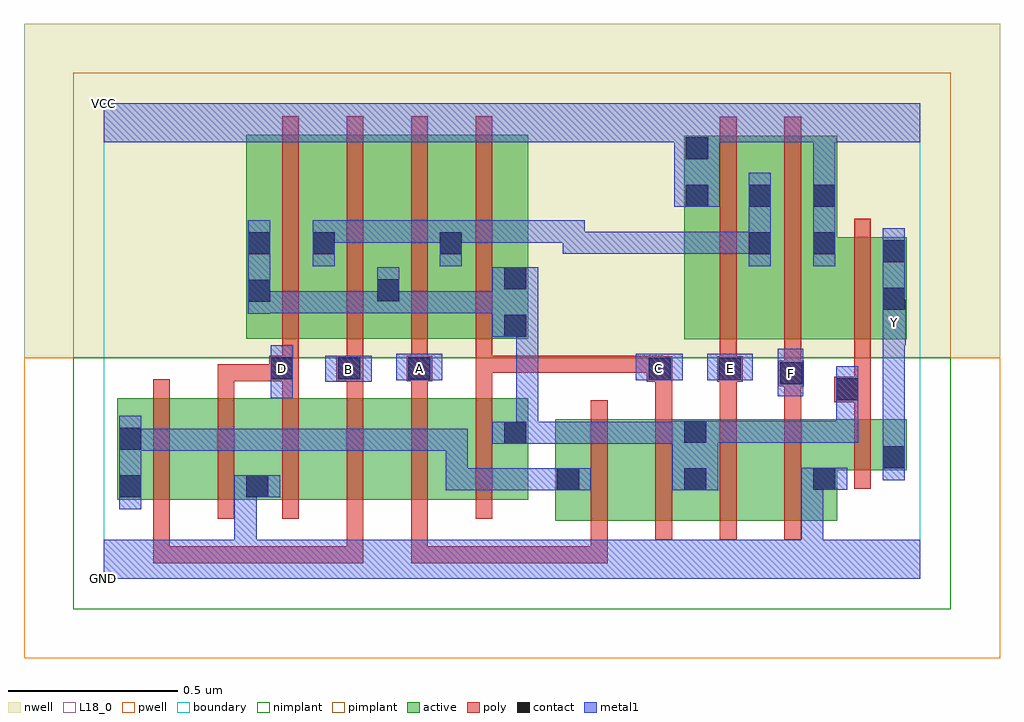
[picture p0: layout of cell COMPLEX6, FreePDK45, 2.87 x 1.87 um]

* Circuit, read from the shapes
.subckt COMPLEX6 A B C D E F GND VCC Y
M1 n1 B n2 VSUBS nfet w=0.3u l=0.05u
M2 GND D n1 VSUBS nfet w=0.3u l=0.05u
M3 n3 D GND VSUBS nfet w=0.3u l=0.05u
M4 n4 B n3 VSUBS nfet w=0.3u l=0.05u
M5 n5 A n4 VSUBS nfet w=0.3u l=0.05u
M6 n6 C n5 VSUBS nfet w=0.3u l=0.05u
M7 n7 A n2 VSUBS nfet w=0.3u l=0.05u
M8 n6 C n7 VSUBS nfet w=0.3u l=0.05u
M9 n8 E n6 VSUBS nfet w=0.3u l=0.05u
M10 GND F n8 VSUBS nfet w=0.3u l=0.05u
M11 Y n6 GND VSUBS nfet w=0.15u l=0.05u
M12 n9 D n6 n10 pfet w=0.6u l=0.05u
M13 n6 B n9 n10 pfet w=0.6u l=0.05u
M14 n9 A n6 n10 pfet w=0.6u l=0.05u
M15 n6 C n9 n10 pfet w=0.6u l=0.05u
M16 n9 E VCC n10 pfet w=0.6u l=0.05u
M17 VCC F n9 n10 pfet w=0.6u l=0.05u
M18 Y n6 VCC n10 pfet w=0.3u l=0.05u
.ends

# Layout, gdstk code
import gdstk
lib = gdstk.Library(unit=1e-6, precision=1e-09)
def R(c, l, rs):  # rectangles x0, y0, x1, y1
    for r in rs: c.add(gdstk.rectangle(r[:2], r[2:], *l))
def A(c, l, x, y, w, h, nx, ny, dx, dy):  # array of equal rectangles
    R(c, l, [(x+i*dx, y+j*dy, x+i*dx+w, y+j*dy+h) for i in range(nx) for j in range(ny)])
active = (1, 0)
pwell = (2, 0)
nwell = (3, 0)
nimplant = (4, 0)
pimplant = (5, 0)
poly = (9, 0)
contact = (10, 0)
metal1 = (11, 0)
L18_0 = (18, 0)
boundary = (235, 0)

complex6 = lib.new_cell('COMPLEX6')
R(complex6, active, [(1.33,0.17,1.555,0.47), (1.555,0.17,1.78,0.47), (1.705,0.17,1.935,0.47), (1.935,0.17,2.16,0.47), (1.33,0.2,1.405,0.47), (0.04,0.232,0.265,0.532), (0.265,0.232,0.49,0.532), (0.415,0.232,0.645,0.532), (0.415,0.232,0.49,0.517), (0.645,0.232,0.835,0.532), (0.835,0.232,1.025,0.532), (1.025,0.232,1.25,0.532), (1.705,0.232,1.78,0.47), (0.04,0.235,0.115,0.532), (2.085,0.257,2.16,0.397), (1.175,0.295,1.25,0.532), (2.085,0.32,2.365,0.47), (2.29,0.32,2.365,0.47), (1.71,0.705,1.97,1.305), (1.71,0.705,1.785,1.305), (1.895,0.705,2.16,1.305), (2.085,0.705,2.365,1.005), (2.085,0.705,2.16,1.165), (2.29,0.705,2.365,1.005), (0.42,0.707,0.685,1.307), (0.42,0.707,0.495,1.2), (0.61,0.707,0.875,1.307), (0.61,0.707,0.685,1.2), (0.8,0.707,1.06,1.307), (0.8,0.707,0.875,1.07), (0.985,0.707,1.25,1.307), (0.985,0.707,1.06,1.2), (1.175,0.707,1.25,1.07), (1.895,0.707,1.97,1.2)])
R(complex6, pwell, [(-0.235,-0.235,2.64,0.65)])
R(complex6, nwell, [(-0.235,0.65,2.64,1.635)])
R(complex6, nimplant, [(-0.09,-0.09,2.495,0.65)])
R(complex6, pimplant, [(-0.09,0.65,2.495,1.49)])
A(complex6, poly, 1.435, 0.115, 0.05, 0.41, 4, 1, 0.19, 0)
A(complex6, poly, 0.145, 0.177, 0.05, 0.41, 6, 1, 0.19, 0)
A(complex6, poly, 0.335, 0.537, 0.05, 0.095, 4, 1, 0.19, 0)
A(complex6, poly, 0.525, 0.607, 0.05, 0.095, 4, 1, 0.19, 0)
A(complex6, poly, 0.525, 0.652, 0.05, 0.71, 4, 1, 0.19, 0)
R(complex6, poly, [(0.145,0.045,0.195,0.095), (0.145,0.045,0.195,0.095), (0.145,0.045,0.195,0.095), (0.145,0.045,0.195,0.227), (0.145,0.045,0.327,0.095), (0.277,0.045,0.327,0.095), (0.277,0.045,0.602,0.095), (0.552,0.045,0.602,0.095), (0.552,0.045,0.602,0.095), (0.552,0.045,0.602,0.095), (0.552,0.045,0.765,0.095), (0.715,0.045,0.765,0.095), (0.715,0.045,0.765,0.095), (0.715,0.045,0.765,0.095), (0.715,0.045,0.765,0.227), (0.905,0.045,0.955,0.095), (0.905,0.045,0.955,0.095), (0.905,0.045,0.955,0.095), (0.905,0.045,1.352,0.095), (0.905,0.045,0.955,0.227), (1.302,0.045,1.352,0.095), (1.302,0.045,1.352,0.095), (1.302,0.045,1.352,0.095), (1.302,0.045,1.485,0.095), (1.435,0.045,1.485,0.095), (1.435,0.045,1.485,0.095), (1.435,0.045,1.485,0.095), (1.435,0.045,1.485,0.165), (2.21,0.265,2.26,0.525), (1.625,0.475,1.675,0.63), (1.815,0.475,1.865,0.63), (2.005,0.475,2.055,0.617), (2.21,0.475,2.26,0.57), (2.152,0.52,2.26,0.595), (1.095,0.537,1.145,0.657), (2.21,0.545,2.26,0.7), (1.987,0.567,2.062,0.642), (1.6,0.58,1.675,0.655), (1.807,0.58,1.882,0.655), (0.335,0.582,0.385,0.632), (0.335,0.582,0.385,0.632), (0.335,0.582,0.385,0.632), (0.335,0.582,0.537,0.632), (0.487,0.582,0.575,0.657), (0.685,0.582,0.765,0.657), (0.892,0.582,0.967,0.657), (2.005,0.592,2.055,0.7), (1.6,0.605,1.65,0.655), (1.6,0.605,1.65,0.657), (1.815,0.605,1.865,0.7), (1.095,0.607,1.145,0.657), (1.095,0.607,1.145,0.657), (1.095,0.607,1.145,0.657), (1.095,0.607,1.485,0.657), (1.435,0.607,1.485,0.657), (1.435,0.607,1.485,0.657), (1.435,0.607,1.485,0.657), (1.435,0.607,1.65,0.657), (1.815,0.65,1.865,1.36), (2.005,0.65,2.055,1.36), (2.21,0.65,2.26,1.06)])
R(complex6, contact, [(0.045,0.24,0.11,0.305), (0.42,0.24,0.485,0.305), (1.335,0.26,1.4,0.325), (1.71,0.26,1.775,0.325), (2.09,0.262,2.155,0.327), (2.295,0.325,2.36,0.39), (0.045,0.38,0.11,0.445), (1.18,0.397,1.245,0.462), (1.71,0.4,1.775,0.465), (2.157,0.525,2.222,0.59), (1.992,0.572,2.057,0.637), (1.605,0.585,1.67,0.65), (1.812,0.585,1.877,0.65), (0.492,0.587,0.557,0.652), (0.69,0.587,0.755,0.652), (0.897,0.587,0.962,0.652), (1.18,0.712,1.245,0.777), (2.295,0.792,2.36,0.857), (0.425,0.815,0.49,0.88), (0.805,0.817,0.87,0.882), (1.18,0.852,1.245,0.917), (2.295,0.932,2.36,0.997), (0.425,0.955,0.49,1.02), (0.615,0.955,0.68,1.02), (0.99,0.955,1.055,1.02), (1.9,0.955,1.965,1.02), (2.09,0.955,2.155,1.02), (1.715,1.095,1.78,1.16), (1.9,1.095,1.965,1.16), (2.09,1.095,2.155,1.16), (1.715,1.235,1.78,1.3)])
R(complex6, metal1, [(0,0,2.405,0.115), (0.385,0.05,0.45,0.115), (0.385,0.05,0.45,0.115), (0.385,0.05,0.45,0.305), (2.055,0.05,2.12,0.115), (2.055,0.05,2.12,0.115), (2.055,0.05,2.12,0.115), (2.055,0.05,2.12,0.115), (2.055,0.05,2.12,0.327), (0.045,0.205,0.11,0.48), (0.385,0.24,0.45,0.305), (0.385,0.24,0.45,0.305), (0.385,0.24,0.52,0.305), (1.007,0.26,1.072,0.325), (1.007,0.26,1.072,0.325), (1.007,0.26,1.072,0.325), (1.007,0.26,1.21,0.325), (1.007,0.26,1.072,0.442), (1.145,0.26,1.21,0.325), (1.145,0.26,1.365,0.325), (1.3,0.26,1.435,0.325), (1.675,0.26,1.81,0.465), (2.055,0.262,2.19,0.327), (2.295,0.29,2.36,0.425), (2.295,0.36,2.36,0.752), (0.045,0.377,0.11,0.442), (0.045,0.377,0.11,0.442), (0.045,0.377,0.312,0.442), (0.247,0.377,0.312,0.442), (0.247,0.377,0.312,0.442), (0.247,0.377,0.312,0.442), (0.247,0.377,0.45,0.442), (0.385,0.377,0.45,0.442), (0.385,0.377,0.45,0.442), (0.385,0.377,0.45,0.442), (0.385,0.377,0.732,0.442), (0.667,0.377,0.732,0.442), (0.667,0.377,0.732,0.442), (0.667,0.377,0.732,0.442), (0.667,0.377,0.87,0.442), (0.805,0.377,0.87,0.442), (0.805,0.377,0.87,0.442), (0.805,0.377,0.87,0.442), (0.805,0.377,1.072,0.442), (1.007,0.377,1.072,0.442), (1.145,0.397,1.28,0.462), (1.215,0.397,1.28,0.462), (1.215,0.397,1.28,0.462), (1.215,0.397,1.465,0.462), (1.215,0.397,1.28,0.777), (1.4,0.397,1.465,0.462), (1.4,0.397,1.555,0.462), (1.49,0.397,1.555,0.462), (1.49,0.397,1.672,0.462), (1.607,0.397,1.672,0.462), (1.607,0.397,1.74,0.462), (1.745,0.4,1.81,0.465), (1.745,0.4,1.81,0.465), (1.745,0.4,1.982,0.465), (1.917,0.4,1.982,0.465), (1.917,0.4,1.982,0.465), (1.917,0.4,1.982,0.465), (1.917,0.4,2.222,0.465), (2.157,0.4,2.222,0.465), (2.157,0.4,2.222,0.555), (2.157,0.49,2.222,0.555), (2.157,0.49,2.222,0.555), (2.157,0.49,2.222,0.625), (0.492,0.532,0.557,0.687), (1.985,0.537,2.06,0.677), (0.652,0.58,0.79,0.657), (0.862,0.585,0.997,0.662), (1.567,0.585,1.705,0.662), (1.777,0.585,1.912,0.662), (2.295,0.687,2.362,0.822), (1.145,0.712,1.28,0.917), (1.215,0.712,1.28,0.777), (1.215,0.712,1.28,0.777), (2.295,0.757,2.36,0.822), (2.295,0.757,2.36,1.032), (0.425,0.78,0.49,1.055), (0.425,0.782,0.49,0.847), (0.425,0.782,0.49,0.847), (0.425,0.782,0.732,0.847), (0.667,0.782,0.732,0.847), (0.667,0.782,0.732,0.847), (0.667,0.782,0.732,0.847), (0.667,0.782,0.87,0.847), (0.805,0.782,0.87,0.847), (0.805,0.782,0.87,0.847), (0.805,0.782,0.87,0.917), (0.805,0.782,1.072,0.847), (1.007,0.782,1.072,0.847), (1.007,0.782,1.072,0.847), (1.007,0.782,1.072,0.847), (1.007,0.782,1.21,0.847), (0.615,0.92,0.68,1.055), (0.99,0.92,1.055,1.055), (1.9,0.92,1.965,1.195), (2.09,0.92,2.155,1.195), (1.352,0.957,1.417,1.022), (1.352,0.957,1.417,1.022), (1.352,0.957,1.417,1.022), (1.352,0.957,1.602,1.022), (1.352,0.957,1.417,1.055), (1.537,0.957,1.602,1.022), (1.537,0.957,1.602,1.022), (1.537,0.957,1.602,1.022), (1.537,0.957,1.827,1.022), (1.762,0.957,1.827,1.022), (1.762,0.957,1.827,1.022), (1.762,0.957,1.827,1.022), (1.762,0.957,1.965,1.022), (0.615,0.99,0.68,1.055), (0.615,0.99,0.68,1.055), (0.615,0.99,0.917,1.055), (0.852,0.99,0.917,1.055), (0.852,0.99,0.917,1.055), (0.852,0.99,0.917,1.055), (0.852,0.99,1.055,1.055), (0.99,0.99,1.055,1.055), (0.99,0.99,1.055,1.055), (0.99,0.99,1.28,1.055), (1.215,0.99,1.28,1.055), (1.215,0.99,1.417,1.055), (1.352,0.99,1.417,1.055), (1.68,1.095,1.815,1.3), (2.09,1.13,2.155,1.35), (1.75,1.235,1.815,1.35), (0,1.285,2.405,1.4)])
R(complex6, L18_0, [(0,0,2.405,0.115), (0.385,0.05,0.45,0.115), (0.385,0.05,0.45,0.115), (0.385,0.05,0.45,0.305), (2.055,0.05,2.12,0.115), (2.055,0.05,2.12,0.115), (2.055,0.05,2.12,0.115), (2.055,0.05,2.12,0.115), (2.055,0.05,2.12,0.327), (0.385,0.24,0.45,0.305), (0.385,0.24,0.45,0.305), (0.385,0.24,0.52,0.305), (2.055,0.262,2.19,0.327), (2.295,0.29,2.36,0.425), (2.295,0.36,2.36,0.752), (0.492,0.532,0.557,0.687), (1.985,0.537,2.06,0.677), (1.992,0.572,2.057,0.637), (0.652,0.58,0.79,0.657), (0.687,0.582,0.752,0.647), (0.862,0.585,0.997,0.662), (1.567,0.585,1.705,0.662), (1.777,0.585,1.912,0.662), (0.492,0.587,0.557,0.652), (0.897,0.587,0.962,0.652), (1.602,0.587,1.667,0.652), (1.812,0.587,1.877,0.652), (2.295,0.687,2.362,0.822), (2.297,0.722,2.362,0.787), (2.295,0.757,2.36,0.822), (2.295,0.757,2.36,1.032), (2.09,0.92,2.155,1.195), (1.68,1.095,1.815,1.3), (2.09,1.13,2.155,1.35), (1.75,1.235,1.815,1.35), (0,1.285,2.405,1.4)])
R(complex6, boundary, [(0,0,2.405,1.4)])
complex6.add(gdstk.Label('A', (0.93,0.62), layer=11, texttype=0))
complex6.add(gdstk.Label('B', (0.72,0.615), layer=11, texttype=0))
complex6.add(gdstk.Label('C', (1.635,0.62), layer=11, texttype=0))
complex6.add(gdstk.Label('D', (0.525,0.62), layer=11, texttype=0))
complex6.add(gdstk.Label('E', (1.845,0.62), layer=11, texttype=0))
complex6.add(gdstk.Label('F', (2.025,0.605), layer=11, texttype=0))
complex6.add(gdstk.Label('Y', (2.33,0.755), layer=11, texttype=0))
complex6.add(gdstk.Label('VCC', (0,1.4), layer=11, texttype=0))
complex6.add(gdstk.Label('GND', (0,0), layer=11, texttype=0))

lib.write_gds('COMPLEX6.gds')
